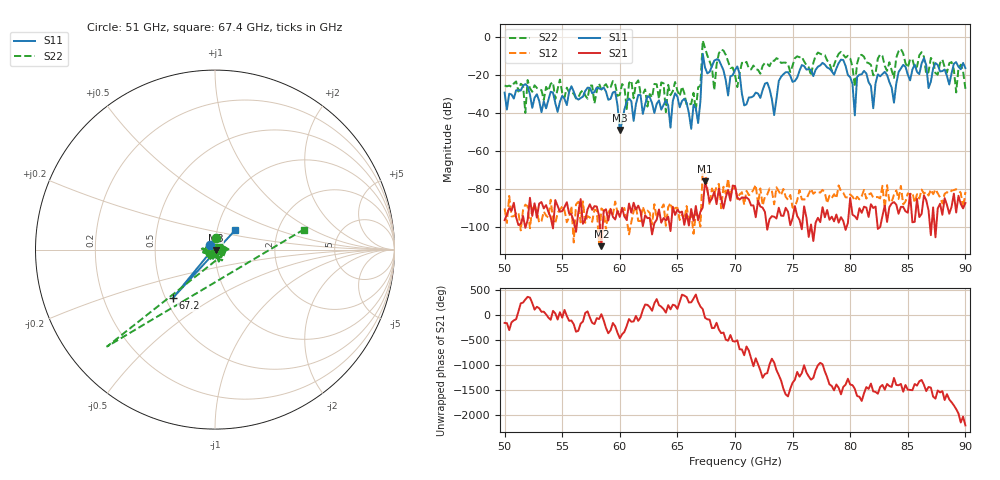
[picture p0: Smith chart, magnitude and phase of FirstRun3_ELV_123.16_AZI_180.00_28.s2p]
! 11/24/2026 3:39:24 PM
! C:\ANRITSUVNA\TEMP\TEMP.S2P
! CHANNEL.1
! TR.MEASUREMENT
! RAW.DATA
# HZ S RI R 50.0
! FREQ.HZ  S11RE  S11IM  S21RE  S21IM  S12RE  S12IM  S22RE  S22IM
!; PortSelection: Port_12
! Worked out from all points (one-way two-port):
!   201 points, 50 GHz to 90 GHz, reference 50 ohm
!   highest |S21| = -75.95 dB at 67.4 GHz (marker M1); lowest = -110.2 dB at 58.4 GHz (marker M2)
!   lowest |S11| = -49.0 dB at 60 GHz (marker M3), VSWR 1.01, Z = 50.3 - j0.153 ohm
!   |S11| at or under -10 dB: start of sweep to 67.19 GHz; 67.23 GHz to end of sweep
!   |S22| runs from -40.0 to -1.9 dB; largest |S21 - S12| = 0.00034
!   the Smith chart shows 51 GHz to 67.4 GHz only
!   S11 on the Smith chart (normalised r, x): 51 GHz: 0.94, +0.05; 67.2 GHz: 0.54, -0.34; 67.4 GHz: 1.22, +0.27
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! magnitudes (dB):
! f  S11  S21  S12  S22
! 50 GHz  -29.4  -96.5  -90.3  -25.6
! 51 GHz  -28.1  -95.1  -92.9  -23.4
! 51.8 GHz  -24.8  -100.6  -88.4  -40.0
! 52 GHz  -26.0  -96.5  -89.2  -22.6
! 56.8 GHz  -31.4  -98.4  -86.6  -28.1
! 58.4 GHz  -27.5  -110.2  -90.4  -27.7
! 60 GHz  -49.0  -94.8  -90.7  -30.5
! 63.4 GHz  -33.4  -90.9  -91.6  -32.6
! 66.8 GHz  -45.4  -96.6  -94.5  -26.5
! 67.2 GHz  -8.9  -89.9  -69.5  -1.9
! 67.4 GHz  -16.1  -75.9  -71.2  -5.9
! 68.2 GHz  -12.5  -81.6  -83.0  -28.0
! 68.8 GHz  -14.8  -85.3  -90.3  -6.7
! 70 GHz  -17.5  -78.6  -78.5  -19.9
! 73.4 GHz  -41.2  -94.7  -88.2  -12.6
! 74.2 GHz  -19.7  -94.3  -80.1  -13.5
! 76.8 GHz  -20.6  -107.5  -82.7  -13.6
! 79.4 GHz  -12.2  -97.0  -82.2  -9.4
! 80.4 GHz  -41.3  -94.4  -86.2  -26.2
! 80.6 GHz  -21.1  -96.1  -84.2  -14.0
! 83.4 GHz  -23.7  -89.6  -86.7  -13.3
! 90 GHz  -16.4  -87.5  -81.7  -27.3
